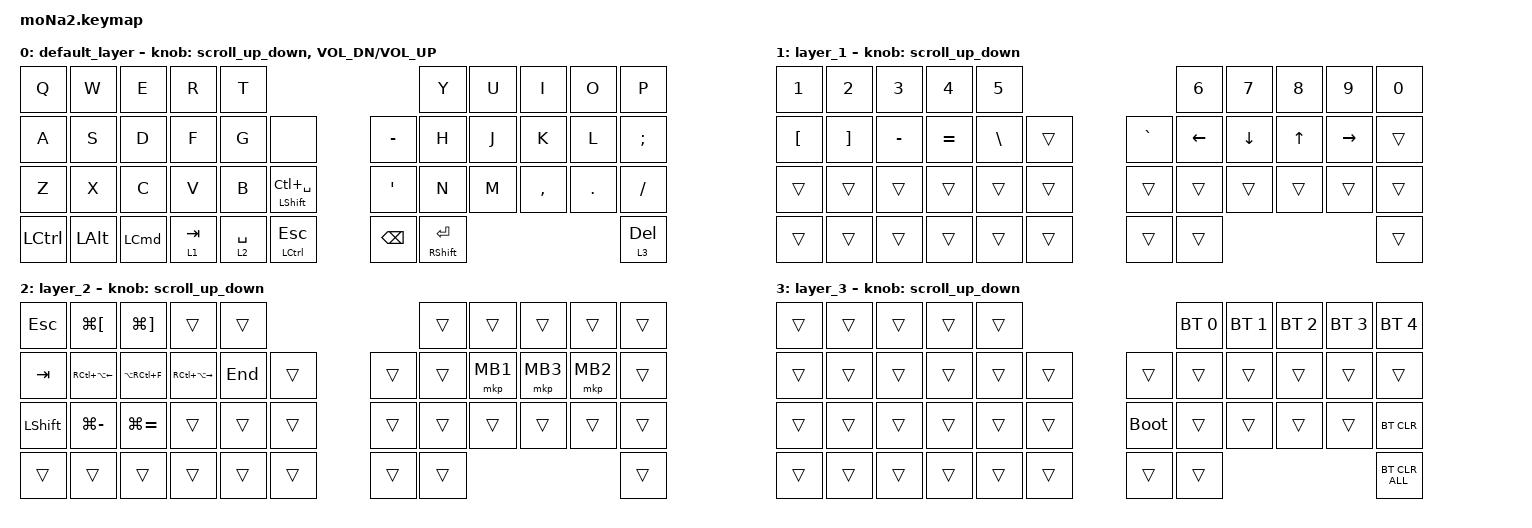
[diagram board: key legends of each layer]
#include <behaviors.dtsi>
#include <dt-bindings/zmk/bt.h>
#include <dt-bindings/zmk/keys.h>
#include <dt-bindings/zmk/pointing.h>

#define ZMK_POINTING_DEFAULT_SCRL_VAL 100
#define MOUSE 6

&mt {
    flavor = "balanced";
    quick-tap-ms = <0>;
};

/ {
    combos {
        compatible = "zmk,combos";

        Spotlight {
            bindings = <&kp LG(SPACE)>;
            key-positions = <41 37>;
        };

        escape {
            bindings = <&kp ESCAPE>;
            key-positions = <1 0>;
        };
    };

    macros {
        to_layer_0: to_layer_0 {
            compatible = "zmk,behavior-macro-one-param";
            #binding-cells = <1>;
            bindings = <&to 0 &macro_param_1to1 &kp MACRO_PLACEHOLDER>;
            label = "TO_LAYER_0";
        };
    };

    behaviors {
        lt_to_layer_0: lt_to_layer_0 {
            compatible = "zmk,behavior-hold-tap";
            label = "LAYER_TAP_TO_0";
            bindings = <&mo>, <&to_layer_0>;

            #binding-cells = <2>;
            tapping-term-ms = <200>;
        };

        scroll_up_down: behavior_sensor_rotate_mouse_wheel_up_down {
            compatible = "zmk,behavior-sensor-rotate";
            #sensor-binding-cells = <0>;
            bindings = <&msc SCRL_UP>, <&msc SCRL_DOWN>;

            tap-ms = <20>;
        };
    };

    keymap {
        compatible = "zmk,keymap";

        default_layer {
            bindings = <
&kp Q      &kp W         &kp E             &kp R      &kp T                                                   &kp Y                  &kp U  &kp I      &kp O    &kp P
&kp A      &kp S         &kp D             &kp F      &kp G        &none                       &kp MINUS      &kp H                  &kp J  &kp K      &kp L    &kp SEMICOLON
&kp Z      &kp X         &kp C             &kp V      &kp B        &mt LEFT_SHIFT LC(SPACE)    &kp SQT        &kp N                  &kp M  &kp COMMA  &kp DOT  &kp SLASH
&kp LCTRL  &kp LEFT_ALT  &kp LEFT_COMMAND  &lt 1 TAB  &lt 2 SPACE  &mt LEFT_CONTROL ESCAPE     &kp BACKSPACE  &mt RIGHT_SHIFT ENTER                             &lt 3 DELETE
            >;

            sensor-bindings =
                <&scroll_up_down>,
                <&inc_dec_kp C_VOL_DN C_VOL_UP>;
        };

        layer_1 {
            bindings = <
&kp NUMBER_1      &kp NUMBER_2       &kp NUMBER_3  &kp NUMBER_4  &kp N5                              &kp NUMBER_6  &kp NUMBER_7  &kp NUMBER_8  &kp NUMBER_9  &kp N0
&kp LEFT_BRACKET  &kp RIGHT_BRACKET  &kp MINUS     &kp EQUAL     &kp BACKSLASH  &trans    &kp GRAVE  &kp LEFT      &kp DOWN      &kp UP_ARROW  &kp RIGHT     &trans
&trans            &trans             &trans        &trans        &trans         &trans    &trans     &trans        &trans        &trans        &trans        &trans
&trans            &trans             &trans        &trans        &trans         &trans    &trans     &trans                                                  &trans
            >;

            sensor-bindings = <&scroll_up_down>;
        };

        layer_2 {
            bindings = <
&kp ESCAPE      &kp LG(LEFT_BRACKET)  &kp LG(RIGHT_BRACKET)  &trans             &trans                     &trans  &trans    &trans    &trans    &trans
&kp TAB         &kp RC(LA(LEFT))      &kp LA(RC(F))          &kp RC(LA(RIGHT))  &kp END  &trans    &trans  &trans  &mkp MB1  &mkp MB3  &mkp MB2  &trans
&kp LEFT_SHIFT  &kp LG(MINUS)         &kp LG(EQUAL)          &trans             &trans   &trans    &trans  &trans  &trans    &trans    &trans    &trans
&trans          &trans                &trans                 &trans             &trans   &trans    &trans  &trans                                &trans
            >;

            sensor-bindings = <&scroll_up_down>;
        };

        layer_3 {
            bindings = <
&trans  &trans  &trans  &trans  &trans                         &bt BT_SEL 0  &bt BT_SEL 1  &bt BT_SEL 2  &bt BT_SEL 3  &bt BT_SEL 4
&trans  &trans  &trans  &trans  &trans  &trans    &trans       &trans        &trans        &trans        &trans        &trans
&trans  &trans  &trans  &trans  &trans  &trans    &bootloader  &trans        &trans        &trans        &trans        &bt BT_CLR
&trans  &trans  &trans  &trans  &trans  &trans    &trans       &trans                                                  &bt BT_CLR_ALL
            >;

            sensor-bindings = <&scroll_up_down>;
        };
    };
};
